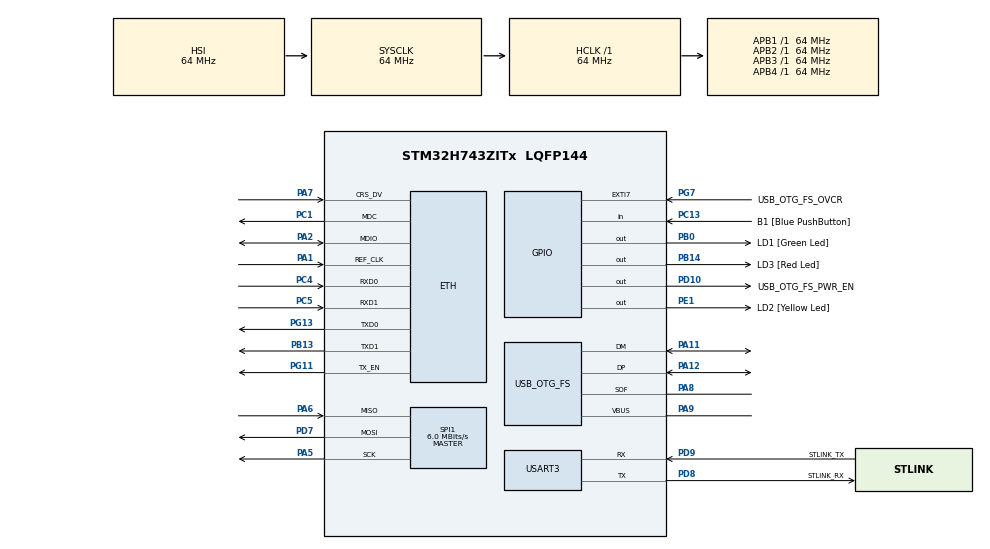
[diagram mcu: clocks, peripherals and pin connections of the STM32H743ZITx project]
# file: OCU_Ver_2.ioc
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ETH.MediaInterface=HAL_ETH_RMII_MODE
Mcu.Family=STM32H7
Mcu.Name=STM32H743ZITx
Mcu.Package=LQFP144
NVIC.PriorityGroup=NVIC_PRIORITYGROUP_4
PA1.Mode=RMII
PA1.Signal=ETH_REF_CLK
PA11.Mode=Device_Only
PA11.Signal=USB_OTG_FS_DM
PA12.Mode=Device_Only
PA12.Signal=USB_OTG_FS_DP
PA2.Mode=RMII
PA2.Signal=ETH_MDIO
PA5.Mode=Full_Duplex_Master
PA5.Signal=SPI1_SCK
PA6.Mode=Full_Duplex_Master
PA6.Signal=SPI1_MISO
PA7.Mode=RMII
PA7.Signal=ETH_CRS_DV
PA8.Mode=Activate_SOF_FS
PA8.Signal=USB_OTG_FS_SOF
PA9.Mode=Activate_VBUS
PA9.Signal=USB_OTG_FS_VBUS
PB0.GPIO_Label=LD1 [Green Led]
PB0.Signal=GPIO_Output
PB13.Mode=RMII
PB13.Signal=ETH_TXD1
PB14.GPIO_Label=LD3 [Red Led]
PB14.Signal=GPIO_Output
PC1.Mode=RMII
PC1.Signal=ETH_MDC
PC13.GPIO_Label=B1 [Blue PushButton]
PC13.Signal=GPIO_Input
PC14-OSC32_IN\ (OSC32_IN).Mode=LSE-External-Oscillator
PC14-OSC32_IN\ (OSC32_IN).Signal=RCC_OSC32_IN
PC15-OSC32_OUT\ (OSC32_OUT).Mode=LSE-External-Oscillator
PC15-OSC32_OUT\ (OSC32_OUT).Signal=RCC_OSC32_OUT
PC4.Mode=RMII
PC4.Signal=ETH_RXD0
PC5.Mode=RMII
PC5.Signal=ETH_RXD1
PD10.GPIO_Label=USB_OTG_FS_PWR_EN
PD10.Signal=GPIO_Output
PD7.Mode=Full_Duplex_Master
PD7.Signal=SPI1_MOSI
PD8.GPIO_Label=STLINK_RX
PD8.Mode=Asynchronous
PD8.Signal=USART3_TX
PD9.GPIO_Label=STLINK_TX
PD9.Mode=Asynchronous
PD9.Signal=USART3_RX
PE1.GPIO_Label=LD2 [Yellow Led]
PE1.Signal=GPIO_Output
PG11.Mode=RMII
PG11.Signal=ETH_TX_EN
PG13.Mode=RMII
PG13.Signal=ETH_TXD0
PG7.GPIO_Label=USB_OTG_FS_OVCR
PG7.Signal=GPXTI7
PH0-OSC_IN\ (PH0).Mode=HSE-External-Clock-Source
PH0-OSC_IN\ (PH0).Signal=RCC_OSC_IN
PH1-OSC_OUT\ (PH1).Signal=RCC_OSC_OUT
ProjectManager.HeapSize=0x200
ProjectManager.StackSize=0x400
ProjectManager.TargetToolchain=STM32CubeIDE
RCC.ADCFreq_Value=16125000
RCC.APB1Freq_Value=64000000
RCC.APB2Freq_Value=64000000
RCC.APB3Freq_Value=64000000
RCC.APB4Freq_Value=64000000
RCC.CortexFreq_Value=64000000
RCC.DIVM1=1
RCC.DIVN1=24
RCC.DIVQ1=4
RCC.HCLKFreq_Value=64000000
RCC.HSE_VALUE=8000000
RCC.PLLFRACN=0
RCC.PWR_Regulator_Voltage_Scale=PWR_REGULATOR_VOLTAGE_SCALE2
RCC.SYSCLKFreq_VALUE=64000000
RCC.USBFreq_Value=48000000
SPI1.BaudRatePrescaler=SPI_BAUDRATEPRESCALER_8
SPI1.CalculateBaudRate=6.0 MBits/s
SPI1.DataSize=SPI_DATASIZE_8BIT
SPI1.Direction=SPI_DIRECTION_2LINES
SPI1.Mode=SPI_MODE_MASTER
SPI1.VirtualType=VM_MASTER
USART3.VirtualMode-Asynchronous=VM_ASYNC
USB_OTG_FS.VirtualMode=Device_Only
board=NUCLEO-H743ZI2

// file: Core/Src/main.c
/* USER CODE BEGIN Header */
/**
  ******************************************************************************
  * @file           : main.c
  * @brief          : Main program body
  ******************************************************************************
  * @attention
  *
  * Copyright (c) 2022 STMicroelectronics.
  * All rights reserved.
  *
  * This software is licensed under terms that can be found in the LICENSE file
  * in the root directory of this software component.
  * If no LICENSE file comes with this software, it is provided AS-IS.
  *
  ******************************************************************************
  */
/* USER CODE END Header */
#include "main.h"
#include "string.h"

/* USER CODE BEGIN Includes */
#include "PFCV.h" /* Library for Mass Flow Controller */
#include "Cu_MCP3208.h" /* Library for Current Sensors with external ADC MCP3208 */
#include "Vo_MCP3208.h" /* Library for Voltage Sensors with external ADC MCP3208 */
#include "OBC.h"  /* Library for OnBoardComputer */
#include "GATE.h" /* Library for Gate Driver */
#include "IntraSatComm.h" /* Library for OBC */
/* USER CODE END Includes */

/* USER CODE BEGIN PM */
#define HEADER 0x4D555350
#define MINPKTLEN 11
/* USER CODE END PM */

#if defined ( __ICCARM__ ) /*!< IAR Compiler */

#pragma location=0x30040000
ETH_DMADescTypeDef  DMARxDscrTab[ETH_RX_DESC_CNT]; /* Ethernet Rx DMA Descriptors */
#pragma location=0x30040060
ETH_DMADescTypeDef  DMATxDscrTab[ETH_TX_DESC_CNT]; /* Ethernet Tx DMA Descriptors */
#pragma location=0x300400c0
uint8_t Rx_Buff[ETH_RX_DESC_CNT][ETH_MAX_PACKET_SIZE]; /* Ethernet Receive Buffers */

#elif defined ( __CC_ARM )  /* MDK ARM Compiler */

__attribute__((at(0x30040000))) ETH_DMADescTypeDef  DMARxDscrTab[ETH_RX_DESC_CNT]; /* Ethernet Rx DMA Descriptors */
__attribute__((at(0x30040060))) ETH_DMADescTypeDef  DMATxDscrTab[ETH_TX_DESC_CNT]; /* Ethernet Tx DMA Descriptors */
__attribute__((at(0x300400c0))) uint8_t Rx_Buff[ETH_RX_DESC_CNT][ETH_MAX_PACKET_SIZE]; /* Ethernet Receive Buffer */

#elif defined ( __GNUC__ ) /* GNU Compiler */

ETH_DMADescTypeDef DMARxDscrTab[ETH_RX_DESC_CNT] __attribute__((section(".RxDecripSection"))); /* Ethernet Rx DMA Descriptors */
ETH_DMADescTypeDef DMATxDscrTab[ETH_TX_DESC_CNT] __attribute__((section(".TxDecripSection")));   /* Ethernet Tx DMA Descriptors */
uint8_t Rx_Buff[ETH_RX_DESC_CNT][ETH_MAX_PACKET_SIZE] __attribute__((section(".RxArraySection"))); /* Ethernet Receive Buffers */

#endif

ETH_TxPacketConfig TxConfig;

ETH_HandleTypeDef heth;

SPI_HandleTypeDef hspi1;

UART_HandleTypeDef huart3;

PCD_HandleTypeDef hpcd_USB_OTG_FS;

void SystemClock_Config(void);
static void MX_GPIO_Init(void);
static void MX_ETH_Init(void);
static void MX_USART3_UART_Init(void);
static void MX_USB_OTG_FS_PCD_Init(void);
static void MX_SPI1_Init(void);

/* USER CODE BEGIN 0 */
void clear(uint8_t *buffer, int len) /* clearing the buffer function*/
{
	for(int i =0; i<len; i++)
	{
		buffer[i] = 0x00;
	}
};

uint8_t new[12];

void ShiftBit()
{
	unsigned char bits1 = 0, bits2 =0;

};

void BuildMessage(uint8_t cmd_id, uint8_t len, uint8_t *arg,uint8_t *buffer) /*Build message to transmit to OBC*/
{
	PacketAssemble(OCU_BUS_ID, cmd_id, arg, len, buffer);

};

/*void decrypt(uint8_t *buffer)
{
	if( id != OCU_BUS_ID)
		return;
	switch(cmd)
	{
	case OCU_HANDSHAKE:

	}

};*/
/* USER CODE END 0 */

int main(void)
{

  /* MCU Configuration--------------------------------------------------------*/

  /* Reset of all peripherals, Initializes the Flash interface and the Systick. */
  HAL_Init();

  /* Configure the system clock */
  SystemClock_Config();

  /* Initialize all configured peripherals */
  MX_GPIO_Init();
  MX_ETH_Init();
  MX_USART3_UART_Init();
  MX_USB_OTG_FS_PCD_Init();
  MX_SPI1_Init();

  /* Infinite loop */
  while (1)
  {

  }
}

void SystemClock_Config(void)
{
  RCC_OscInitTypeDef RCC_OscInitStruct = {0};
  RCC_ClkInitTypeDef RCC_ClkInitStruct = {0};

  /** Supply configuration update enable
  */
  HAL_PWREx_ConfigSupply(PWR_LDO_SUPPLY);
  /** Configure the main internal regulator output voltage
  */
  __HAL_PWR_VOLTAGESCALING_CONFIG(PWR_REGULATOR_VOLTAGE_SCALE2);

  while(!__HAL_PWR_GET_FLAG(PWR_FLAG_VOSRDY)) {}
  /** Initializes the RCC Oscillators according to the specified parameters
  * in the RCC_OscInitTypeDef structure.
  */
  RCC_OscInitStruct.OscillatorType = RCC_OSCILLATORTYPE_HSI|RCC_OSCILLATORTYPE_HSE;
  RCC_OscInitStruct.HSEState = RCC_HSE_BYPASS;
  RCC_OscInitStruct.HSIState = RCC_HSI_DIV1;
  RCC_OscInitStruct.HSICalibrationValue = RCC_HSICALIBRATION_DEFAULT;
  RCC_OscInitStruct.PLL.PLLState = RCC_PLL_ON;
  RCC_OscInitStruct.PLL.PLLSource = RCC_PLLSOURCE_HSE;
  RCC_OscInitStruct.PLL.PLLM = 1;
  RCC_OscInitStruct.PLL.PLLN = 24;
  RCC_OscInitStruct.PLL.PLLP = 2;
  RCC_OscInitStruct.PLL.PLLQ = 4;
  RCC_OscInitStruct.PLL.PLLR = 2;
  RCC_OscInitStruct.PLL.PLLRGE = RCC_PLL1VCIRANGE_3;
  RCC_OscInitStruct.PLL.PLLVCOSEL = RCC_PLL1VCOWIDE;
  RCC_OscInitStruct.PLL.PLLFRACN = 0;
  if (HAL_RCC_OscConfig(&RCC_OscInitStruct) != HAL_OK)
  {
    Error_Handler();
  }
  /** Initializes the CPU, AHB and APB buses clocks
  */
  RCC_ClkInitStruct.ClockType = RCC_CLOCKTYPE_HCLK|RCC_CLOCKTYPE_SYSCLK
                              |RCC_CLOCKTYPE_PCLK1|RCC_CLOCKTYPE_PCLK2
                              |RCC_CLOCKTYPE_D3PCLK1|RCC_CLOCKTYPE_D1PCLK1;
  RCC_ClkInitStruct.SYSCLKSource = RCC_SYSCLKSOURCE_HSI;
  RCC_ClkInitStruct.SYSCLKDivider = RCC_SYSCLK_DIV1;
  RCC_ClkInitStruct.AHBCLKDivider = RCC_HCLK_DIV1;
  RCC_ClkInitStruct.APB3CLKDivider = RCC_APB3_DIV1;
  RCC_ClkInitStruct.APB1CLKDivider = RCC_APB1_DIV1;
  RCC_ClkInitStruct.APB2CLKDivider = RCC_APB2_DIV1;
  RCC_ClkInitStruct.APB4CLKDivider = RCC_APB4_DIV1;

  if (HAL_RCC_ClockConfig(&RCC_ClkInitStruct, FLASH_LATENCY_1) != HAL_OK)
  {
    Error_Handler();
  }
}

static void MX_ETH_Init(void)
{

   static uint8_t MACAddr[6];

  heth.Instance = ETH;
  MACAddr[0] = 0x00;
  MACAddr[1] = 0x80;
  MACAddr[2] = 0xE1;
  MACAddr[3] = 0x00;
  MACAddr[4] = 0x00;
  MACAddr[5] = 0x00;
  heth.Init.MACAddr = &MACAddr[0];
  heth.Init.MediaInterface = HAL_ETH_RMII_MODE;
  heth.Init.TxDesc = DMATxDscrTab;
  heth.Init.RxDesc = DMARxDscrTab;
  heth.Init.RxBuffLen = 1524;

  if (HAL_ETH_Init(&heth) != HAL_OK)
  {
    Error_Handler();
  }

  memset(&TxConfig, 0 , sizeof(ETH_TxPacketConfig));
  TxConfig.Attributes = ETH_TX_PACKETS_FEATURES_CSUM | ETH_TX_PACKETS_FEATURES_CRCPAD;
  TxConfig.ChecksumCtrl = ETH_CHECKSUM_IPHDR_PAYLOAD_INSERT_PHDR_CALC;
  TxConfig.CRCPadCtrl = ETH_CRC_PAD_INSERT;

}

static void MX_SPI1_Init(void)
{

  /* SPI1 parameter configuration*/
  hspi1.Instance = SPI1;
  hspi1.Init.Mode = SPI_MODE_MASTER;
  hspi1.Init.Direction = SPI_DIRECTION_2LINES;
  hspi1.Init.DataSize = SPI_DATASIZE_8BIT;
  hspi1.Init.CLKPolarity = SPI_POLARITY_LOW;
  hspi1.Init.CLKPhase = SPI_PHASE_1EDGE;
  hspi1.Init.NSS = SPI_NSS_SOFT;
  hspi1.Init.BaudRatePrescaler = SPI_BAUDRATEPRESCALER_8;
  hspi1.Init.FirstBit = SPI_FIRSTBIT_MSB;
  hspi1.Init.TIMode = SPI_TIMODE_DISABLE;
  hspi1.Init.CRCCalculation = SPI_CRCCALCULATION_DISABLE;
  hspi1.Init.CRCPolynomial = 0x0;
  hspi1.Init.NSSPMode = SPI_NSS_PULSE_ENABLE;
  hspi1.Init.NSSPolarity = SPI_NSS_POLARITY_LOW;
  hspi1.Init.FifoThreshold = SPI_FIFO_THRESHOLD_01DATA;
  hspi1.Init.TxCRCInitializationPattern = SPI_CRC_INITIALIZATION_ALL_ZERO_PATTERN;
  hspi1.Init.RxCRCInitializationPattern = SPI_CRC_INITIALIZATION_ALL_ZERO_PATTERN;
  hspi1.Init.MasterSSIdleness = SPI_MASTER_SS_IDLENESS_00CYCLE;
  hspi1.Init.MasterInterDataIdleness = SPI_MASTER_INTERDATA_IDLENESS_00CYCLE;
  hspi1.Init.MasterReceiverAutoSusp = SPI_MASTER_RX_AUTOSUSP_DISABLE;
  hspi1.Init.MasterKeepIOState = SPI_MASTER_KEEP_IO_STATE_DISABLE;
  hspi1.Init.IOSwap = SPI_IO_SWAP_DISABLE;
  if (HAL_SPI_Init(&hspi1) != HAL_OK)
  {
    Error_Handler();
  }

}

static void MX_USART3_UART_Init(void)
{

  huart3.Instance = USART3;
  huart3.Init.BaudRate = 115200;
  huart3.Init.WordLength = UART_WORDLENGTH_8B;
  huart3.Init.StopBits = UART_STOPBITS_1;
  huart3.Init.Parity = UART_PARITY_NONE;
  huart3.Init.Mode = UART_MODE_TX_RX;
  huart3.Init.HwFlowCtl = UART_HWCONTROL_NONE;
  huart3.Init.OverSampling = UART_OVERSAMPLING_16;
  huart3.Init.OneBitSampling = UART_ONE_BIT_SAMPLE_DISABLE;
  huart3.Init.ClockPrescaler = UART_PRESCALER_DIV1;
  huart3.AdvancedInit.AdvFeatureInit = UART_ADVFEATURE_NO_INIT;
  if (HAL_UART_Init(&huart3) != HAL_OK)
  {
    Error_Handler();
  }
  if (HAL_UARTEx_SetTxFifoThreshold(&huart3, UART_TXFIFO_THRESHOLD_1_8) != HAL_OK)
  {
    Error_Handler();
  }
  if (HAL_UARTEx_SetRxFifoThreshold(&huart3, UART_RXFIFO_THRESHOLD_1_8) != HAL_OK)
  {
    Error_Handler();
  }
  if (HAL_UARTEx_DisableFifoMode(&huart3) != HAL_OK)
  {
    Error_Handler();
  }

}

static void MX_USB_OTG_FS_PCD_Init(void)
{

  hpcd_USB_OTG_FS.Instance = USB_OTG_FS;
  hpcd_USB_OTG_FS.Init.dev_endpoints = 9;
  hpcd_USB_OTG_FS.Init.speed = PCD_SPEED_FULL;
  hpcd_USB_OTG_FS.Init.dma_enable = DISABLE;
  hpcd_USB_OTG_FS.Init.phy_itface = PCD_PHY_EMBEDDED;
  hpcd_USB_OTG_FS.Init.Sof_enable = ENABLE;
  hpcd_USB_OTG_FS.Init.low_power_enable = DISABLE;
  hpcd_USB_OTG_FS.Init.lpm_enable = DISABLE;
  hpcd_USB_OTG_FS.Init.battery_charging_enable = ENABLE;
  hpcd_USB_OTG_FS.Init.vbus_sensing_enable = ENABLE;
  hpcd_USB_OTG_FS.Init.use_dedicated_ep1 = DISABLE;
  if (HAL_PCD_Init(&hpcd_USB_OTG_FS) != HAL_OK)
  {
    Error_Handler();
  }

}

static void MX_GPIO_Init(void)
{
  GPIO_InitTypeDef GPIO_InitStruct = {0};

  /* GPIO Ports Clock Enable */
  __HAL_RCC_GPIOC_CLK_ENABLE();
  __HAL_RCC_GPIOH_CLK_ENABLE();
  __HAL_RCC_GPIOA_CLK_ENABLE();
  __HAL_RCC_GPIOB_CLK_ENABLE();
  __HAL_RCC_GPIOD_CLK_ENABLE();
  __HAL_RCC_GPIOG_CLK_ENABLE();
  __HAL_RCC_GPIOE_CLK_ENABLE();

  /*Configure GPIO pin Output Level */
  HAL_GPIO_WritePin(GPIOB, LD1_Pin|LD3_Pin, GPIO_PIN_RESET);

  /*Configure GPIO pin Output Level */
  HAL_GPIO_WritePin(USB_OTG_FS_PWR_EN_GPIO_Port, USB_OTG_FS_PWR_EN_Pin, GPIO_PIN_RESET);

  /*Configure GPIO pin Output Level */
  HAL_GPIO_WritePin(LD2_GPIO_Port, LD2_Pin, GPIO_PIN_RESET);

  /*Configure GPIO pin : B1_Pin */
  GPIO_InitStruct.Pin = B1_Pin;
  GPIO_InitStruct.Mode = GPIO_MODE_INPUT;
  GPIO_InitStruct.Pull = GPIO_NOPULL;
  HAL_GPIO_Init(B1_GPIO_Port, &GPIO_InitStruct);

  /*Configure GPIO pins : LD1_Pin LD3_Pin */
  GPIO_InitStruct.Pin = LD1_Pin|LD3_Pin;
  GPIO_InitStruct.Mode = GPIO_MODE_OUTPUT_PP;
  GPIO_InitStruct.Pull = GPIO_NOPULL;
  GPIO_InitStruct.Speed = GPIO_SPEED_FREQ_LOW;
  HAL_GPIO_Init(GPIOB, &GPIO_InitStruct);

  /*Configure GPIO pin : USB_OTG_FS_PWR_EN_Pin */
  GPIO_InitStruct.Pin = USB_OTG_FS_PWR_EN_Pin;
  GPIO_InitStruct.Mode = GPIO_MODE_OUTPUT_PP;
  GPIO_InitStruct.Pull = GPIO_NOPULL;
  GPIO_InitStruct.Speed = GPIO_SPEED_FREQ_LOW;
  HAL_GPIO_Init(USB_OTG_FS_PWR_EN_GPIO_Port, &GPIO_InitStruct);

  /*Configure GPIO pin : USB_OTG_FS_OVCR_Pin */
  GPIO_InitStruct.Pin = USB_OTG_FS_OVCR_Pin;
  GPIO_InitStruct.Mode = GPIO_MODE_IT_RISING;
  GPIO_InitStruct.Pull = GPIO_NOPULL;
  HAL_GPIO_Init(USB_OTG_FS_OVCR_GPIO_Port, &GPIO_InitStruct);

  /*Configure GPIO pin : LD2_Pin */
  GPIO_InitStruct.Pin = LD2_Pin;
  GPIO_InitStruct.Mode = GPIO_MODE_OUTPUT_PP;
  GPIO_InitStruct.Pull = GPIO_NOPULL;
  GPIO_InitStruct.Speed = GPIO_SPEED_FREQ_LOW;
  HAL_GPIO_Init(LD2_GPIO_Port, &GPIO_InitStruct);

}

void Error_Handler(void)
{
  __disable_irq();
  while (1)
  {
  }
}
